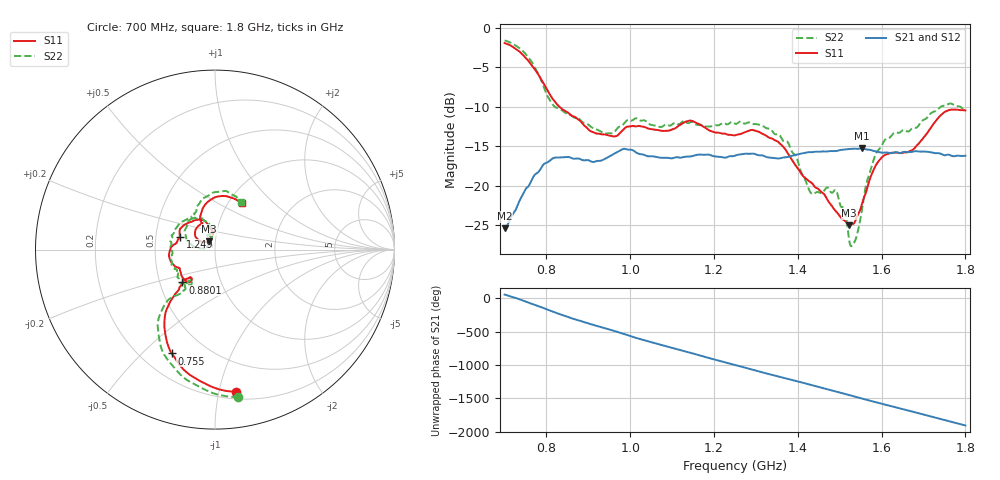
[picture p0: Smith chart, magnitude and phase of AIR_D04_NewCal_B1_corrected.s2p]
! Created with skrf 1.9.0 (http://scikit-rf.org).
# Hz S RI R 50.0
!freq ReS11 ImS11 ReS21 ImS21 ReS12 ImS12 ReS22 ImS22
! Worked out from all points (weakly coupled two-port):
!   1601 points, 700 MHz to 1.8 GHz, reference 50 ohm
!   highest |S21| = -15.26 dB at 1.552 GHz (marker M1); lowest = -25.4 dB at 700 MHz (marker M2)
!   lowest |S11| = -25.0 dB at 1.522 GHz (marker M3), VSWR 1.12, Z = 46.7 + j4.33 ohm
!   |S11| at or under -10 dB: 830.9 MHz to end of sweep
!   |S22| runs from -27.7 to -1.6 dB; largest |S21 - S12| = 0.003
!   S11 on the Smith chart (normalised r, x): 700 MHz: 0.25, -1.13; 755 MHz: 0.32, -0.62; 880.1 MHz: 0.65, -0.26; 1.249 GHz: 0.67, +0.10; 1.8 GHz: 1.15, +0.66
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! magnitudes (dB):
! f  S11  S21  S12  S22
! 700 MHz  -1.9  -25.4  -25.2  -1.6
! 755 MHz  -4.1  -20.2  -20.1  -3.6
! 815.5 MHz  -9.0  -16.5  -16.6  -9.8
! 880.1 MHz  -11.8  -16.6  -16.6  -11.6
! 883.6 MHz  -12.0  -16.7  -16.6  -11.8
! 958.5 MHz  -13.7  -16.0  -16.0  -13.3
! 1.067 GHz  -12.9  -16.4  -16.4  -12.5
! 1.143 GHz  -11.7  -16.3  -16.3  -12.0
! 1.249 GHz  -13.6  -16.2  -16.1  -12.1
! 1.25 GHz  -13.6  -16.2  -16.1  -12.1
! 1.302 GHz  -13.1  -16.1  -16.0  -12.2
! 1.374 GHz  -15.8  -16.4  -16.3  -14.4
! 1.434 GHz  -19.7  -15.7  -15.7  -21.0
! 1.491 GHz  -23.2  -15.6  -15.6  -20.6
! 1.522 GHz  -25.0  -15.3  -15.3  -26.8
! 1.535 GHz  -24.7  -15.3  -15.3  -27.2
! 1.552 GHz  -22.4  -15.3  -15.3  -23.2
! 1.583 GHz  -17.7  -15.6  -15.6  -16.4
! 1.617 GHz  -15.9  -15.8  -15.8  -13.9
! 1.675 GHz  -15.4  -15.7  -15.7  -12.7
! 1.745 GHz  -10.9  -16.0  -16.0  -9.9
! 1.8 GHz  -10.4  -16.2  -16.2  -10.4
